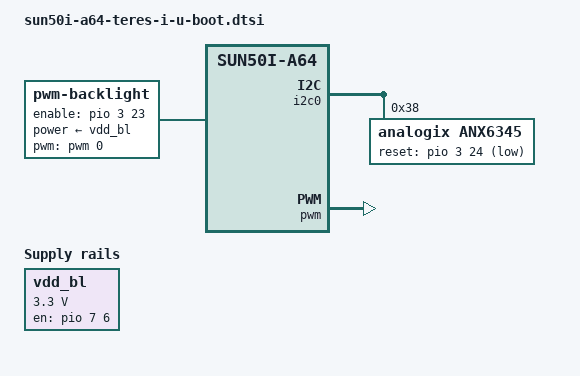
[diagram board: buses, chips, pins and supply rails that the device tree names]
// SPDX-License-Identifier: (GPL-2.0+ OR MIT)
/*
 * Copyright (C) 2019 Vasily Khoruzhick <anarsoul@gmail.com>
 *
 */

#include "sunxi-u-boot.dtsi"

/ {
	vdd_bl: regulator@0 {
		compatible = "regulator-fixed";
		regulator-name = "bl-3v3";
		regulator-min-microvolt = <3300000>;
		regulator-max-microvolt = <3300000>;
		gpio = <&pio 7 6 GPIO_ACTIVE_HIGH>; /* PH6 */
		enable-active-high;
	};

	backlight: backlight {
		compatible = "pwm-backlight";
		pwms = <&pwm 0 50000 0>;
		brightness-levels = <0 5 10 15 20 30 40 55 70 85 100>;
		default-brightness-level = <2>;
		enable-gpios = <&pio 3 23 GPIO_ACTIVE_HIGH>; /* PD23 */
		power-supply = <&vdd_bl>;
	};
};

/* The ANX6345 eDP-bridge is on i2c */
&i2c0 {
	anx6345: edp-bridge@38 {
		compatible = "analogix,anx6345";
		reg = <0x38>;
		reset-gpios = <&pio 3 24 GPIO_ACTIVE_LOW>; /* PD24 */
		status = "okay";
	};
};

&pwm {
	status = "okay";
};
